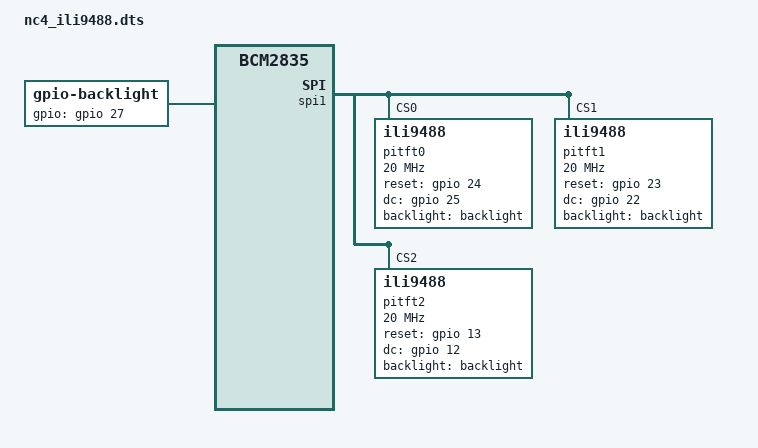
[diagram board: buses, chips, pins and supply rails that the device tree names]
/********************************************************************************
 * nc4_ili9488.dts
 * 
 * Device Tree Overlay for three ILI9488 panels on Raspberry Pi's SPI1 bus.
 * - Disables spidev1.0 (CS0), spidev1.1 (CS1), and spidev1.2 (CS2).
 * - Creates three SPI child nodes: pitft0@0 (CE0), pitft1@1 (CE1), and pitft2@2 (CE2).
 * - Each panel has its own Reset and DC lines.
 * - Shared backlight on GPIO27.
 *
 * Compatible usage:
 *   dtoverlay=nc4_ili9488
 ********************************************************************************/
 /dts-v1/;
/plugin/;

/ {
	compatible = "brcm,bcm2835";

	/****************************************************************************
	 * Enable SPI1 hardware
	 ****************************************************************************/
	fragment@0 {
		target = <&spi1>;
		__overlay__ {
			status = "okay";
		};
	};

	/****************************************************************************
	 * Disable spidev (SPI1, CS0)
	 ****************************************************************************/
	fragment@1 {
		target = <&spidev1_0>;
		__overlay__ {
			status = "disabled";
		};
	};

	/****************************************************************************
	 * Disable spidev (SPI1, CS1)
	 ****************************************************************************/
	fragment@2 {
		target = <&spidev1_1>;
		__overlay__ {
			status = "disabled";
		};
	};

	/****************************************************************************
	 * Disable spidev (SPI1, CS2)
	 ****************************************************************************/
	fragment@3 {
		target = <&spidev1_2>;
		__overlay__ {
			status = "disabled";
		};
	};

	/****************************************************************************
	 * GPIO pins for the LCD_0 panel (pitft0)
	 *   GPIO24 = RESET (out)
	 *   GPIO25 = DC (out)
	 *   GPIO27 = Backlight (out, shared)
	 ****************************************************************************/
	fragment@4 {
		target = <&gpio>;
		__overlay__ {
			pitft0_pins: pitft0_pins {
				brcm,pins = <24 25>;
				brcm,function = <1 1>; /* Set as output */
			};
		};
	};

	/****************************************************************************
	 * GPIO pins for the LCD_1 panel (pitft1)
	 *   GPIO23 = RESET (out)
	 *   GPIO22 = DC (out)
	 *   GPIO27 = Backlight (out, shared)
	 ****************************************************************************/
	fragment@5 {
		target = <&gpio>;
		__overlay__ {
			pitft1_pins: pitft1_pins {
				brcm,pins = <23 22>;
				brcm,function = <1 1>; /* Set as output */
			};
		};
	};

	/****************************************************************************
	 * GPIO pins for the LCD_2 panel (pitft2)
	 *   GPIO13 = RESET (out)
	 *   GPIO12 = DC (out)
	 *   GPIO27 = Backlight (out, shared)
	 ****************************************************************************/
	fragment@6 {
		target = <&gpio>;
		__overlay__ {
			pitft2_pins: pitft2_pins {
				brcm,pins = <13 12>;
				brcm,function = <1 1>; /* Set as output */
			};
		};
	};

	/****************************************************************************
	 * LCD_0 ILI9488 device node on SPI1 CE0
	 ****************************************************************************/
	fragment@7 {
		target = <&spi1>;
		__overlay__ {
			#address-cells = <1>;
			#size-cells = <0>;

			pitft0: pitft0@0 {
				compatible = "ili9488";
				pinctrl-names = "default";
				pinctrl-0 = <&pitft0_pins>;

				reg = <0>; /* CE0 */
				spi-max-frequency = <20000000>;

				rotation = <0>;
				reset-gpios = <&gpio 24 0>;
				dc-gpios = <&gpio 25 0>;
				backlight = <&backlight>;
			};
		};
	};

	/****************************************************************************
	 * LCD_1 ILI9488 device node on SPI1 CE1
	 ****************************************************************************/
	fragment@8 {
		target = <&spi1>;
		__overlay__ {
			pitft1: pitft1@1 {
				compatible = "ili9488";
				pinctrl-names = "default";
				pinctrl-0 = <&pitft1_pins>;

				reg = <1>; /* CE1 */
				spi-max-frequency = <20000000>;

				rotation = <0>;
				reset-gpios = <&gpio 23 0>;
				dc-gpios = <&gpio 22 0>;
				backlight = <&backlight>;
			};
		};
	};

	/****************************************************************************
	 * LCD_2 ILI9488 device node on SPI1 CE2
	 ****************************************************************************/
	fragment@9 {
		target = <&spi1>;
		__overlay__ {
			pitft2: pitft2@2 {
				compatible = "ili9488";
				pinctrl-names = "default";
				pinctrl-0 = <&pitft2_pins>;

				reg = <2>; /* CE2 */
				spi-max-frequency = <20000000>;

				rotation = <0>;
				reset-gpios = <&gpio 13 0>;
				dc-gpios = <&gpio 12 0>;
				backlight = <&backlight>;
			};
		};
	};

	/****************************************************************************
	 * Shared backlight control for all panels
	 ****************************************************************************/
	fragment@10 {
		target-path = "/soc";
		__overlay__ {
			backlight: backlight {
				compatible = "gpio-backlight";
				gpios = <&gpio 27 0>;
			};
		};
	};

	/****************************************************************************
	 * Overridable parameters for speed and rotation
	 ****************************************************************************/
	__overrides__ {
		speed = <&pitft0>,"spi-max-frequency:0", <&pitft1>,"spi-max-frequency:0", <&pitft2>,"spi-max-frequency:0";
		rotation = <&pitft0>,"rotation:0", <&pitft1>,"rotation:0", <&pitft2>,"rotation:0";
	};
};
